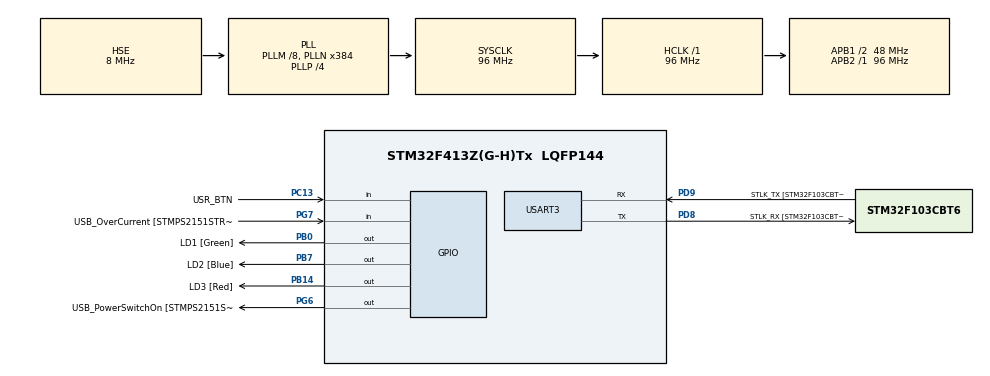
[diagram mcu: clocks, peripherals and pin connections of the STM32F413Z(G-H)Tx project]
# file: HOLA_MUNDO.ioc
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Mcu.Family=STM32F4
Mcu.Name=STM32F413Z(G-H)Tx
Mcu.Package=LQFP144
NVIC.PriorityGroup=NVIC_PRIORITYGROUP_4
PA13.GPIO_Label=TMS
PA13.Mode=Serial_Wire
PA13.Signal=SYS_JTMS-SWDIO
PA14.GPIO_Label=TCK
PA14.Mode=Serial_Wire
PA14.Signal=SYS_JTCK-SWCLK
PB0.GPIO_Label=LD1 [Green]
PB0.Signal=GPIO_Output
PB14.GPIO_Label=LD3 [Red]
PB14.Signal=GPIO_Output
PB7.GPIO_Label=LD2 [Blue]
PB7.Signal=GPIO_Output
PC13.GPIO_Label=USR_BTN
PC13.Signal=GPIO_Input
PC14-OSC32_IN.Mode=LSE-External-Oscillator
PC14-OSC32_IN.Signal=RCC_OSC32_IN
PC15-OSC32_OUT.Mode=LSE-External-Oscillator
PC15-OSC32_OUT.Signal=RCC_OSC32_OUT
PD8.GPIO_Label=STLK_RX [STM32F103CBT6_PA3]
PD8.Mode=Asynchronous
PD8.Signal=USART3_TX
PD9.GPIO_Label=STLK_TX [STM32F103CBT6_PA2]
PD9.Mode=Asynchronous
PD9.Signal=USART3_RX
PG6.GPIO_Label=USB_PowerSwitchOn [STMPS2151STR_EN]
PG6.Signal=GPIO_Output
PG7.GPIO_Label=USB_OverCurrent [STMPS2151STR_FAULT]
PG7.Signal=GPIO_Input
PH0\ -\ OSC_IN.GPIO_Label=MCO
PH0\ -\ OSC_IN.Mode=HSE-External-Clock-Source
PH0\ -\ OSC_IN.Signal=RCC_OSC_IN
PH1\ -\ OSC_OUT.Mode=HSE-External-Clock-Source
PH1\ -\ OSC_OUT.Signal=RCC_OSC_OUT
ProjectManager.HeapSize=0x200
ProjectManager.StackSize=0x400
ProjectManager.TargetToolchain=STM32CubeIDE
RCC.48MHZClocksFreq_Value=24000000
RCC.AHBFreq_Value=96000000
RCC.APB1CLKDivider=RCC_HCLK_DIV2
RCC.APB1Freq_Value=48000000
RCC.APB1TimFreq_Value=96000000
RCC.APB2Freq_Value=96000000
RCC.APB2TimFreq_Value=96000000
RCC.CortexFreq_Value=96000000
RCC.HCLKFreq_Value=96000000
RCC.HSE_VALUE=8000000
RCC.HSI_VALUE=16000000
RCC.PLLM=8
RCC.PLLMUL=RCC_PLL_MUL9
RCC.PLLN=384
RCC.PLLP=RCC_PLLP_DIV4
RCC.PLLQ=8
RCC.PLLSourceVirtual=RCC_PLLSOURCE_HSE
RCC.PRESCALERUSB=RCC_USBCLKSOURCE_PLL_DIV1_5
RCC.SYSCLKFreq_VALUE=96000000
RCC.SYSCLKSource=RCC_SYSCLKSOURCE_PLLCLK
RCC.SYSCLKSourceVirtual=RCC_SYSCLKSOURCE_PLLCLK
RCC.USBFreq_Value=48000000
RCC.VCOOutputFreq_Value=384000000
USART3.VirtualMode=VM_ASYNC
board=NUCLEO-F413ZH

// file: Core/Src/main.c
/* USER CODE BEGIN Header */
/**
  ******************************************************************************
  * @file           : main.c
  * @brief          : Main program body
  ******************************************************************************
  * @attention
  *
  * Copyright (c) 2026 STMicroelectronics.
  * All rights reserved.
  *
  * This software is licensed under terms that can be found in the LICENSE file
  * in the root directory of this software component.
  * If no LICENSE file comes with this software, it is provided AS-IS.
  *
  ******************************************************************************
  */
/* USER CODE END Header */
#include "main.h"

/* USER CODE BEGIN Includes */
#include "API_GPIO.h"
#include "stdbool.h"
/* USER CODE END Includes */

UART_HandleTypeDef huart3;

void SystemClock_Config(void);
static void MX_GPIO_Init(void);
static void MX_USART3_UART_Init(void);

int main(void)
{

  /* MCU Configuration--------------------------------------------------------*/

  /* Reset of all peripherals, Initializes the Flash interface and the Systick. */
  HAL_Init();

  /* USER CODE BEGIN Init */
  uint16_t LEDS[3] = {LD1_Pin, LD2_Pin, LD3_Pin}; /*Creo vector de LEDs*/
  bool PULSADOR;
  uint8_t sentido = 0;      // 0 = normal, 1 = invertido
  uint8_t anterior = 0;     // Estado anterior del botón
  /* USER CODE END Init */

  /* Configure the system clock */
  SystemClock_Config();

  /* Initialize all configured peripherals */
  MX_GPIO_Init();
  MX_USART3_UART_Init();

  /* Infinite loop */
  /* USER CODE BEGIN WHILE */
  while (1)
  {
	  PULSADOR = lecturaboton(USR_BTN_GPIO_Port, USR_BTN_Pin);

	      if(PULSADOR == GPIO_PIN_SET && anterior == 0)
	      {
	          sentido = !sentido;      // Cambia entre 0 y 1
	          anterior = 1;
	      }

	      if(PULSADOR == GPIO_PIN_RESET)
	      {
	          anterior = 0;
	      }

	      if(sentido == 0)
	      {
	          for(int i = 0; i < 3; i++)
	          {
	            //  HAL_GPIO_WritePin(GPIOB, LEDS[i], GPIO_PIN_SET);
	        	  GPIO_STATUS_ON(GPIOB, LEDS[i]);
	              HAL_Delay(200);

	              GPIO_STATUS_OFF(GPIOB, LEDS[i]);
	              HAL_Delay(200);
	          }
	      }
	      else
	      {
	          for(int i = 2; i >= 0; i--)
	          {
	              HAL_GPIO_WritePin(GPIOB, LEDS[i], GPIO_PIN_SET);
	              HAL_Delay(200);

	              HAL_GPIO_WritePin(GPIOB, LEDS[i], GPIO_PIN_RESET);
	              HAL_Delay(200);
	          }
	      }
    /* USER CODE END WHILE */

  }
}

void SystemClock_Config(void)
{
  RCC_OscInitTypeDef RCC_OscInitStruct = {0};
  RCC_ClkInitTypeDef RCC_ClkInitStruct = {0};

  /** Configure the main internal regulator output voltage
  */
  __HAL_RCC_PWR_CLK_ENABLE();
  __HAL_PWR_VOLTAGESCALING_CONFIG(PWR_REGULATOR_VOLTAGE_SCALE1);

  /** Initializes the RCC Oscillators according to the specified parameters
  * in the RCC_OscInitTypeDef structure.
  */
  RCC_OscInitStruct.OscillatorType = RCC_OSCILLATORTYPE_HSE;
  RCC_OscInitStruct.HSEState = RCC_HSE_BYPASS;
  RCC_OscInitStruct.PLL.PLLState = RCC_PLL_ON;
  RCC_OscInitStruct.PLL.PLLSource = RCC_PLLSOURCE_HSE;
  RCC_OscInitStruct.PLL.PLLM = 8;
  RCC_OscInitStruct.PLL.PLLN = 384;
  RCC_OscInitStruct.PLL.PLLP = RCC_PLLP_DIV4;
  RCC_OscInitStruct.PLL.PLLQ = 8;
  RCC_OscInitStruct.PLL.PLLR = 2;
  if (HAL_RCC_OscConfig(&RCC_OscInitStruct) != HAL_OK)
  {
    Error_Handler();
  }

  /** Initializes the CPU, AHB and APB buses clocks
  */
  RCC_ClkInitStruct.ClockType = RCC_CLOCKTYPE_HCLK|RCC_CLOCKTYPE_SYSCLK
                              |RCC_CLOCKTYPE_PCLK1|RCC_CLOCKTYPE_PCLK2;
  RCC_ClkInitStruct.SYSCLKSource = RCC_SYSCLKSOURCE_PLLCLK;
  RCC_ClkInitStruct.AHBCLKDivider = RCC_SYSCLK_DIV1;
  RCC_ClkInitStruct.APB1CLKDivider = RCC_HCLK_DIV2;
  RCC_ClkInitStruct.APB2CLKDivider = RCC_HCLK_DIV1;

  if (HAL_RCC_ClockConfig(&RCC_ClkInitStruct, FLASH_LATENCY_3) != HAL_OK)
  {
    Error_Handler();
  }
}

static void MX_USART3_UART_Init(void)
{

  huart3.Instance = USART3;
  huart3.Init.BaudRate = 115200;
  huart3.Init.WordLength = UART_WORDLENGTH_8B;
  huart3.Init.StopBits = UART_STOPBITS_1;
  huart3.Init.Parity = UART_PARITY_NONE;
  huart3.Init.Mode = UART_MODE_TX_RX;
  huart3.Init.HwFlowCtl = UART_HWCONTROL_NONE;
  huart3.Init.OverSampling = UART_OVERSAMPLING_16;
  if (HAL_UART_Init(&huart3) != HAL_OK)
  {
    Error_Handler();
  }

}

static void MX_GPIO_Init(void)
{
  GPIO_InitTypeDef GPIO_InitStruct = {0};

  /* GPIO Ports Clock Enable */
  __HAL_RCC_GPIOC_CLK_ENABLE();
  __HAL_RCC_GPIOH_CLK_ENABLE();
  __HAL_RCC_GPIOB_CLK_ENABLE();
  __HAL_RCC_GPIOD_CLK_ENABLE();
  __HAL_RCC_GPIOG_CLK_ENABLE();
  __HAL_RCC_GPIOA_CLK_ENABLE();

  /*Configure GPIO pin Output Level */
  HAL_GPIO_WritePin(GPIOB, LD1_Pin|LD3_Pin|LD2_Pin, GPIO_PIN_RESET);

  /*Configure GPIO pin Output Level */
  HAL_GPIO_WritePin(USB_PowerSwitchOn_GPIO_Port, USB_PowerSwitchOn_Pin, GPIO_PIN_RESET);

  /*Configure GPIO pin : USR_BTN_Pin */
  GPIO_InitStruct.Pin = USR_BTN_Pin;
  GPIO_InitStruct.Mode = GPIO_MODE_INPUT;
  GPIO_InitStruct.Pull = GPIO_NOPULL;
  HAL_GPIO_Init(USR_BTN_GPIO_Port, &GPIO_InitStruct);

  /*Configure GPIO pins : LD1_Pin LD3_Pin LD2_Pin */
  GPIO_InitStruct.Pin = LD1_Pin|LD3_Pin|LD2_Pin;
  GPIO_InitStruct.Mode = GPIO_MODE_OUTPUT_PP;
  GPIO_InitStruct.Pull = GPIO_NOPULL;
  GPIO_InitStruct.Speed = GPIO_SPEED_FREQ_LOW;
  HAL_GPIO_Init(GPIOB, &GPIO_InitStruct);

  /*Configure GPIO pin : USB_PowerSwitchOn_Pin */
  GPIO_InitStruct.Pin = USB_PowerSwitchOn_Pin;
  GPIO_InitStruct.Mode = GPIO_MODE_OUTPUT_PP;
  GPIO_InitStruct.Pull = GPIO_NOPULL;
  GPIO_InitStruct.Speed = GPIO_SPEED_FREQ_LOW;
  HAL_GPIO_Init(USB_PowerSwitchOn_GPIO_Port, &GPIO_InitStruct);

  /*Configure GPIO pin : USB_OverCurrent_Pin */
  GPIO_InitStruct.Pin = USB_OverCurrent_Pin;
  GPIO_InitStruct.Mode = GPIO_MODE_INPUT;
  GPIO_InitStruct.Pull = GPIO_NOPULL;
  HAL_GPIO_Init(USB_OverCurrent_GPIO_Port, &GPIO_InitStruct);

}

void Error_Handler(void)
{
  __disable_irq();
  while (1)
  {
  }
}
